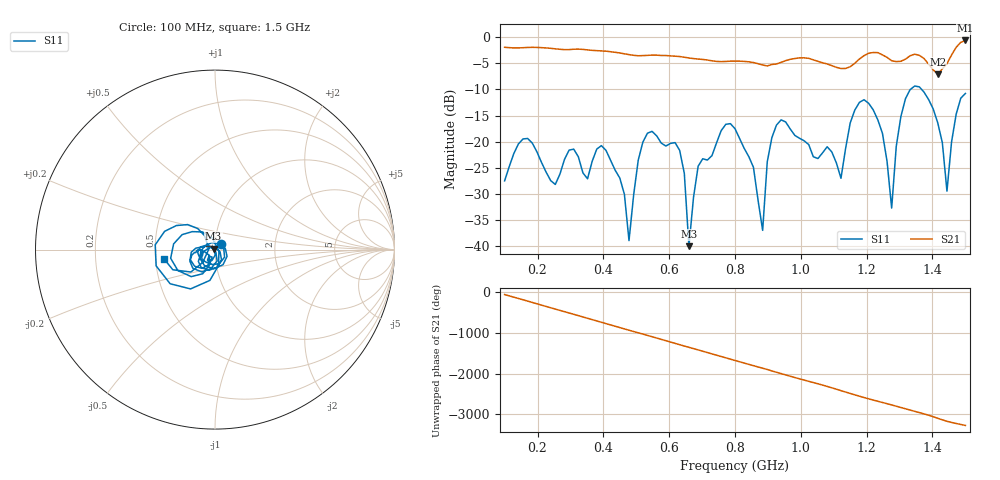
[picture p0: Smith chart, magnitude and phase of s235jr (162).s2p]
! NanoVNA-App
! Date: 2025-09-25 15:05:25
! Start: 100MHz Stop: 1,5GHz Points: 101
! S-Parameter data: F S11 S21 S12 S22
# Hz S RI R 50
!  Frequency  S11_Real  S11_Imag  S21_Real  S21_Imag  S12_Real  S12_Imag  S22_Real  S22_Imag
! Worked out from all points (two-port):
!   101 points, 100 MHz to 1.5 GHz, reference 50 ohm
!   highest |S21| = -0.66 dB at 1.5 GHz (marker M1); lowest = -7.1 dB at 1.416 GHz (marker M2)
!   |S21| within 3 dB of the highest: start of sweep to 617.1 MHz; 1.19 GHz to 1.255 GHz (65.21 MHz wide, 5.33 % of centre) (the widest 2 of 4)
!   lowest |S11| = -40.0 dB at 660 MHz (marker M3), VSWR 1.02, Z = 49.2 + j0.584 ohm
!   |S11| at or under -10 dB: start of sweep to 1.333 GHz; 1.367 GHz to end of sweep
!   S12 and S22 are empty: the file has one direction only
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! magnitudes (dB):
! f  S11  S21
! 100 MHz  -27.5  -2.0
! 156 MHz  -19.5  -2.0
! 338 MHz  -26.0  -2.4
! 408 MHz  -21.6  -2.7
! 478 MHz  -38.9  -3.4
! 520 MHz  -20.1  -3.6
! 576 MHz  -20.3  -3.5
! 632 MHz  -21.7  -3.7
! 660 MHz  -40.0  -4.0
! 688 MHz  -24.7  -4.2
! 800 MHz  -17.5  -4.6
! 884 MHz  -36.9  -5.4
! 926 MHz  -16.8  -5.2
! 1.038 GHz  -22.9  -4.4
! 1.122 GHz  -27.0  -6.0
! 1.192 GHz  -12.0  -3.6
! 1.248 GHz  -18.4  -3.4
! 1.276 GHz  -32.7  -4.5
! 1.332 GHz  -10.1  -3.6
! 1.416 GHz  -16.4  -7.1
! 1.444 GHz  -29.5  -5.1
! 1.5 GHz  -10.8  -0.7
